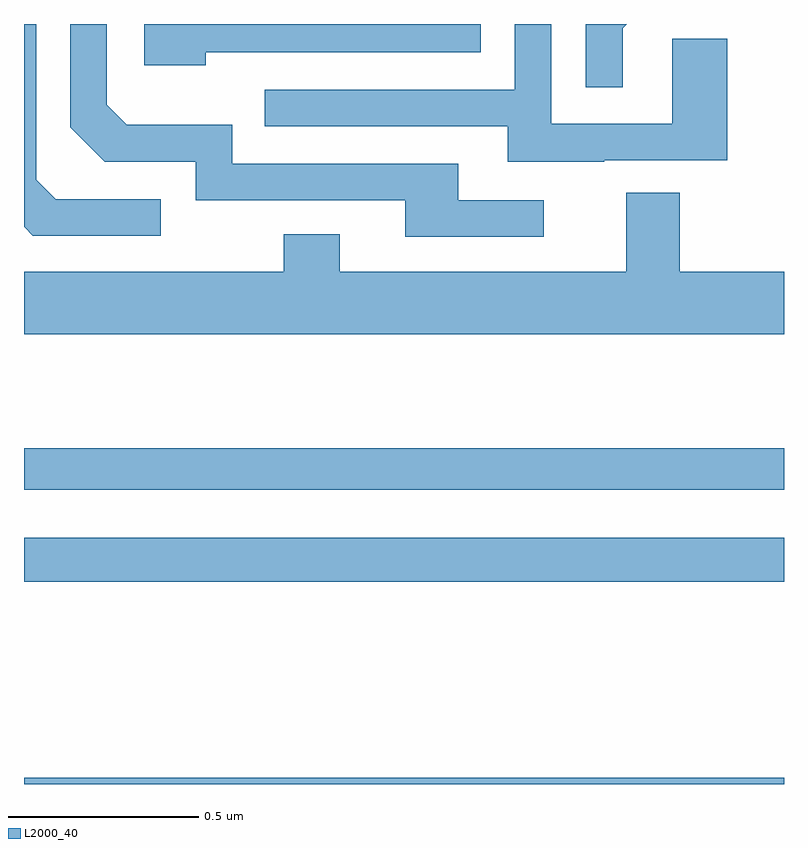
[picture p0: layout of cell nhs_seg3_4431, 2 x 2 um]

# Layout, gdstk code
import gdstk
lib = gdstk.Library(unit=1e-6, precision=1e-09)
def R(c, l, rs):  # rectangles x0, y0, x1, y1
    for r in rs: c.add(gdstk.rectangle(r[:2], r[2:], *l))
def P(c, l, *ps):  # polygons
    for p in ps: c.add(gdstk.Polygon(p, *l))
L2000_40 = (2000, 40)

nhs_seg3_4431 = lib.new_cell('nhs_seg3_4431')
R(nhs_seg3_4431, L2000_40, [(166,698.4,168,698.416), (166,698.932,168,699.048), (166,699.174,168,699.283)])
P(nhs_seg3_4431, L2000_40, [(167.368,699.936),(167.143,699.936),(167.143,700.032),(166.548,700.032),(166.548,700.135),(166.271,700.135),(166.218,700.188),(166.218,700.4),(166.122,700.4),(166.122,700.128),(166.212,700.038),(166.452,700.038),(166.452,699.936),(167.003,699.936),(167.003,699.84),(167.368,699.84)],
  [(167.527,700.041),(167.851,700.041),(167.851,700.361),(167.706,700.361),(167.706,700.137),(167.388,700.137),(167.388,700.4),(167.292,700.4),(167.292,700.227),(166.633,700.227),(166.633,700.131),(167.273,700.131),(167.273,700.037),(167.527,700.037)],
  [(166.36,699.939),(166.083,699.939),(166.032,699.99),(166.032,700.4),(166,700.4),(166,699.866),(166.023,699.843),(166.36,699.843)],
  [(167.575,700.389),(167.586,700.4),(167.478,700.4),(167.478,700.233),(167.575,700.233)],
  [(166.478,700.326),(167.202,700.326),(167.202,700.4),(166.317,700.4),(166.317,700.292),(166.478,700.292)],
  [(168,699.748),(167.725,699.748),(167.725,699.956),(167.585,699.956),(167.585,699.748),(166.831,699.748),(166.831,699.847),(166.684,699.847),(166.684,699.748),(166,699.748),(166,699.584),(168,699.584)])

lib.write_gds('nhs_seg3_4431.gds')
